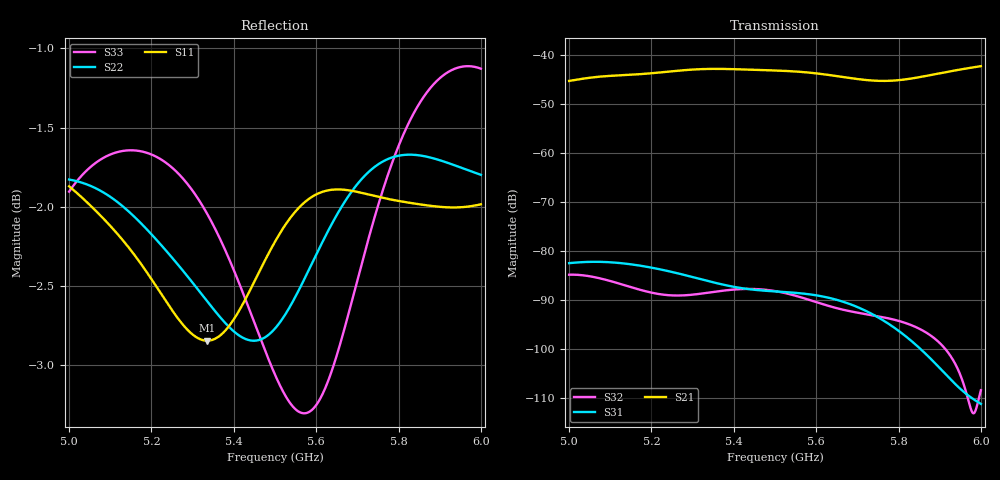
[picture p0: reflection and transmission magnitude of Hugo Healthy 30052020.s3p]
! TOUCHSTONE file generated by CST MICROWAVE STUDIO
! Date and time: Sat Jun 27 17:15:19 2020
! Project name: Human Lung.cst
! Header version: 2018
! Port assignment regex: !\s*Touchstone port\s*([0-9]+)\s*=\s*(CST MWS port|CST DS port)\s*([0-9]+|Zmin|Zmax)\s*\(\"(.*)\"\)(\s*mode\s*([0-9]+))?.*
! Touchstone port assignment:
! Touchstone port 1 = CST MWS port 1 ("")
! Touchstone port 2 = CST MWS port 2 ("")
! Touchstone port 3 = CST MWS port 3 ("")
# GHz S RI R 50
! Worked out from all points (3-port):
!   1001 points, 5 GHz to 6 GHz, reference 50 ohm
!   strongest paths, dB at 5 GHz, 5.25 GHz, 5.5 GHz, 5.75 GHz, 6 GHz:
!     S21: -45.3, -43.3, -43.2, -45.3, -42.3
!     S31: -82.4, -84.2, -88.2, -93.5, -111.1
!     S32: -84.8, -89.0, -88.1, -93.3, -108.3
!   lowest |S11| = -2.8 dB at 5.335 GHz (marker M1), VSWR 6.16, Z = 308 + j10.9 ohm
!   |S11| at or under -10 dB: nowhere
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5  0.8049 -0.0476  0.00197 0.00506  4.46e-05 -6.08e-05
   0.00197 0.00506  0.8099 -0.026  -4.09e-05 -4.04e-05
   4.46e-05 -6.08e-05  -4.09e-05 -4.04e-05  0.8026 0.0303
5.169  0.7624 -0.0463  0.00625 -0.00111  -3.23e-05 6.38e-05
       0.00625 -0.00111  0.7852 -0.0406  3.24e-05 2.47e-05
       -3.23e-05 6.38e-05  3.24e-05 2.47e-05  0.8272 -0.0128
5.335  0.7206 0.00849  -0.000401 -0.00718  2.35e-05 -4.4e-05
       -0.000401 -0.00718  0.7413 -0.0249  -1.53e-05 -3.43e-05
       2.35e-05 -4.4e-05  -1.53e-05 -3.43e-05  0.7885 -0.0547
5.423  0.7389 0.0506  -0.00537 -0.00465  -3.61e-05 -2.09e-05
       -0.00537 -0.00465  0.7221 0.00614  -3.68e-05 1.84e-05
       -3.61e-05 -2.09e-05  -3.68e-05 1.84e-05  0.7437 -0.0541
5.5  0.7719 0.0628  -0.00693 -0.000261  -2.59e-05 2.9e-05
     -0.00693 -0.000261  0.7257 0.0445  1.54e-05 3.6e-05
     -2.59e-05 2.9e-05  1.54e-05 3.6e-05  0.7027 -0.0251
5.609  0.8012 0.0464  -0.00391 0.00509  3.44e-05 5.89e-06
       -0.00391 0.00509  0.7675 0.0777  1.88e-05 -2.27e-05
       3.44e-05 5.89e-06  1.88e-05 -2.27e-05  0.6879 0.0619
5.733  0.8006 0.029  0.00149 0.00529  -1.78e-05 -1.49e-05
       0.00149 0.00529  0.8134 0.0642  -2.22e-05 -2.65e-06
       -1.78e-05 -1.49e-05  -2.22e-05 -2.65e-06  0.7706 0.1273
5.815  0.7967 0.0274  0.00397 0.00397  -7.4e-06 1.17e-05
       0.00397 0.00397  0.8238 0.0437  -2.55e-06 1.85e-05
       -7.4e-06 1.17e-05  -2.55e-06 1.85e-05  0.8312 0.1144
5.906  0.7937 0.0302  0.00652 0.000776  5.43e-06 2.69e-06
       0.00652 0.000776  0.8208 0.0267  1.06e-05 -2.57e-06
       5.43e-06 2.69e-06  1.06e-05 -2.57e-06  0.8706 0.0715
6  0.7949 0.0374  0.00585 -0.00497  1.99e-06 -1.93e-06
   0.00585 -0.00497  0.8128 0.0191  -1.52e-07 3.82e-06
   1.99e-06 -1.93e-06  -1.52e-07 3.82e-06  0.8781 0.0188
